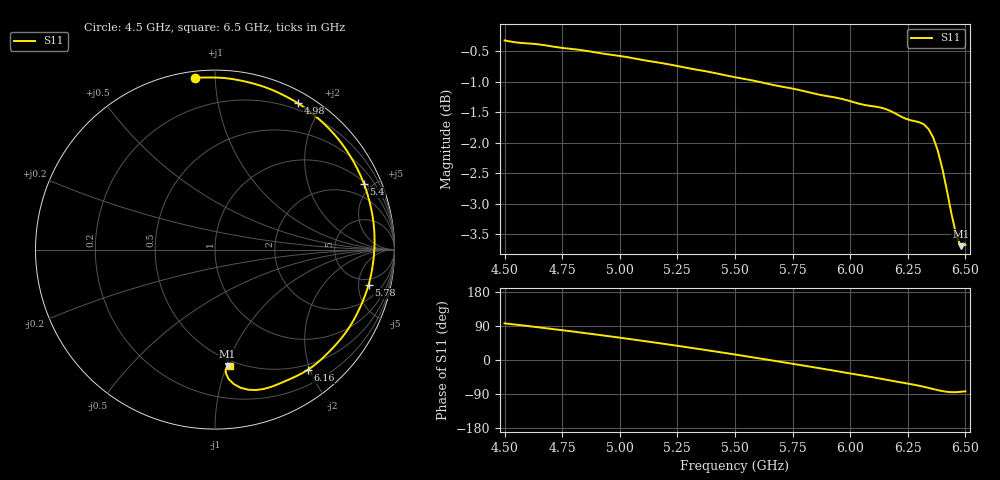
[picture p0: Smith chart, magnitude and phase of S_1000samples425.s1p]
! TOUCHSTONE file generated by CST MICROWAVE STUDIO
! Date and time: Fri Oct 28 03:24:14 2022
! Project name: L.cst
! Parameters = {Di=1.27; Epsilon_r=1.56; InnerDiameter=1.27; Length=2; Lf=10; Lg=60; OuterConductorThickness=0.2921; OuterDiameter=3.6; Wf=3; Wp=41.2; de=1.5; df=6.8; g=0.8; gx=3.48362; gy=4.72551; h=2.34; hf=1.524; px=9.67263; py=14.7673; w=9.7; wx=6.18901; wy=10.0418}
! Header version: 2018
! Port assignment regex: !\s*Touchstone port\s*([0-9]+)\s*=\s*(CST MWS port|CST DS port)\s*([0-9]+|Zmin|Zmax)\s*\(\"(.*)\"\)(\s*mode\s*([0-9]+))?.*
! Touchstone port assignment:
! Touchstone port 1 = CST MWS port 1 ("")
# GHz S DB R 50
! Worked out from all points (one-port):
!   101 points, 4.5 GHz to 6.5 GHz, reference 50 ohm
!   lowest |S11| = -3.7 dB at 6.48 GHz (marker M1), VSWR 4.77, Z = 22.2 - j50.5 ohm
!   |S11| at or under -10 dB: nowhere
!   S11 on the Smith chart (normalised r, x): 4.5 GHz: 0.03, +0.89; 4.98 GHz: 0.13, +1.71; 5.4 GHz: 1.08, +4.49; 5.78 GHz: 3.83, -6.59; 6.16 GHz: 0.42, -1.96; 6.5 GHz: 0.45, -1.03
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4.5  -0.32 96.7
4.64  -0.38 86.8
4.76  -0.45 77.9
4.86  -0.49 70.1
4.98  -0.56 60.5
5  -0.57 58.9
5.14  -0.67 47.1
5.26  -0.75 36.6
5.4  -0.84 23.8
5.5  -0.92 14.4
5.62  -1.01 2.8
5.7  -1.07 -5.0
5.76  -1.12 -11.0
5.78  -1.13 -13.0
5.9  -1.23 -25.1
6  -1.32 -35.5
6.1  -1.40 -45.8
6.16  -1.45 -52.4
6.26  -1.63 -63.4
6.32  -1.70 -70.8
6.36  -1.91 -76.6
6.38  -2.12 -79.5
6.4  -2.42 -82.0
6.42  -2.78 -83.9
6.44  -3.17 -84.9
6.46  -3.50 -84.8
6.48  -3.69 -83.9
6.5  -3.67 -82.6
